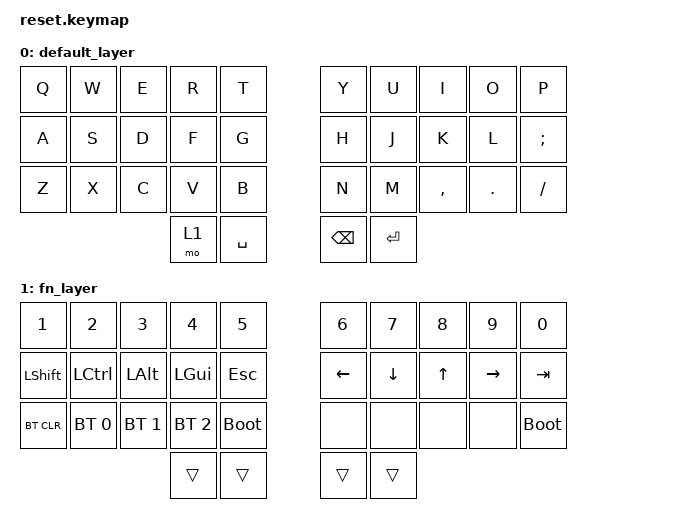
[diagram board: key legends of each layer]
// Plain default layout for the settings-reset firmware.
// Every boot wipes all stored settings (Bluetooth bonds, split pairing).

#include <behaviors.dtsi>
#include <dt-bindings/zmk/keys.h>
#include <dt-bindings/zmk/bt.h>

/ {
    keymap {
        compatible = "zmk,keymap";

        default_layer {
            bindings = <
  &kp Q  &kp W  &kp E  &kp R  &kp T      &kp Y  &kp U     &kp I      &kp O    &kp P
  &kp A  &kp S  &kp D  &kp F  &kp G      &kp H  &kp J     &kp K      &kp L    &kp SEMI
  &kp Z  &kp X  &kp C  &kp V  &kp B      &kp N  &kp M     &kp COMMA  &kp DOT  &kp FSLH
                       &mo 1  &kp SPACE  &kp BSPC  &kp ENTER
            >;
        };

        fn_layer {
            bindings = <
  &kp N1     &kp N2     &kp N3    &kp N4    &kp N5      &kp N6    &kp N7    &kp N8  &kp N9     &kp N0
  &kp LSHFT  &kp LCTRL  &kp LALT  &kp LGUI  &kp ESC     &kp LEFT  &kp DOWN  &kp UP  &kp RIGHT  &kp TAB
  &bt BT_CLR &bt BT_SEL 0 &bt BT_SEL 1 &bt BT_SEL 2 &bootloader   &none &none &none &none &bootloader
                                  &trans    &trans      &trans    &trans
            >;
        };
    };
};
